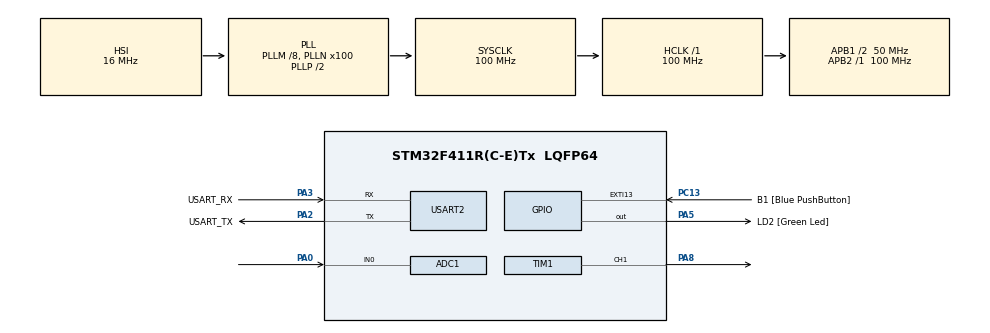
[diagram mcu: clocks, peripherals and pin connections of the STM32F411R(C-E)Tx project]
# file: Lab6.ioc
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ADC1.Channel-0\#ChannelRegularConversion=ADC_CHANNEL_0
ADC1.ExternalTrigConv=ADC_EXTERNALTRIGCONV_T3_TRGO
ADC1.NbrOfConversionFlag=1
ADC1.Rank-0\#ChannelRegularConversion=1
ADC1.SamplingTime-0\#ChannelRegularConversion=ADC_SAMPLETIME_3CYCLES
ADC1.master=1
Mcu.Family=STM32F4
Mcu.Name=STM32F411R(C-E)Tx
Mcu.Package=LQFP64
NVIC.ADC_IRQn=true\:0\:0\:false\:false\:true\:true\:true
NVIC.PriorityGroup=NVIC_PRIORITYGROUP_0
NVIC.TIM1_TRG_COM_TIM11_IRQn=true\:0\:0\:false\:false\:true\:true\:true
PA0-WKUP.Signal=ADCx_IN0
PA13.GPIO_Label=TMS
PA13.Mode=Serial_Wire
PA13.Signal=SYS_JTMS-SWDIO
PA14.GPIO_Label=TCK
PA14.Mode=Serial_Wire
PA14.Signal=SYS_JTCK-SWCLK
PA2.GPIO_Label=USART_TX
PA2.Mode=Asynchronous
PA2.Signal=USART2_TX
PA3.GPIO_Label=USART_RX
PA3.Mode=Asynchronous
PA3.Signal=USART2_RX
PA5.GPIO_Label=LD2 [Green Led]
PA5.Signal=GPIO_Output
PA8.Signal=S_TIM1_CH1
PB3.GPIO_Label=SWO
PB3.Signal=SYS_JTDO-SWO
PC13-ANTI_TAMP.GPIO_Label=B1 [Blue PushButton]
PC13-ANTI_TAMP.GPIO_ModeDefaultEXTI=GPIO_MODE_IT_FALLING
PC13-ANTI_TAMP.Signal=GPXTI13
PC14-OSC32_IN.Mode=LSE-External-Oscillator
PC14-OSC32_IN.Signal=RCC_OSC32_IN
PC15-OSC32_OUT.Mode=LSE-External-Oscillator
PC15-OSC32_OUT.Signal=RCC_OSC32_OUT
PH0\ -\ OSC_IN.Mode=HSE-External-Clock-Source
PH0\ -\ OSC_IN.Signal=RCC_OSC_IN
PH1\ -\ OSC_OUT.Mode=HSE-External-Clock-Source
PH1\ -\ OSC_OUT.Signal=RCC_OSC_OUT
ProjectManager.HeapSize=0x200
ProjectManager.StackSize=0x400
ProjectManager.TargetToolchain=STM32CubeIDE
RCC.48MHZClocksFreq_Value=50000000
RCC.AHBFreq_Value=100000000
RCC.APB1CLKDivider=RCC_HCLK_DIV2
RCC.APB1Freq_Value=50000000
RCC.APB1TimFreq_Value=100000000
RCC.APB2Freq_Value=100000000
RCC.APB2TimFreq_Value=100000000
RCC.CortexFreq_Value=100000000
RCC.FLatency-AdvancedSettings=FLASH_LATENCY_3
RCC.HCLKFreq_Value=100000000
RCC.HSE_VALUE=8000000
RCC.HSI_VALUE=16000000
RCC.PLLM=8
RCC.PLLN=100
RCC.SYSCLKFreq_VALUE=100000000
RCC.SYSCLKSource=RCC_SYSCLKSOURCE_PLLCLK
RCC.VCOOutputFreq_Value=200000000
SH.ADCx_IN0.0=ADC1_IN0,IN0
SH.S_TIM1_CH1.0=TIM1_CH1,PWM Generation1 CH1
TIM1.Channel-PWM\ Generation1\ CH1=TIM_CHANNEL_1
TIM1.Period=10000
TIM1.Pulse-PWM\ Generation1\ CH1=5000
TIM11.Prescaler=99
TIM3.Period=1000
TIM3.Prescaler=99
TIM3.TIM_MasterOutputTrigger=TIM_TRGO_UPDATE
USART2.VirtualMode=VM_ASYNC
VP_TIM11_VS_ClockSourceINT.Mode=Enable_Timer
VP_TIM1_VS_ClockSourceINT.Mode=Internal
VP_TIM3_VS_ClockSourceINT.Mode=Internal
board=NUCLEO-F411RE

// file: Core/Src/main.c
/* USER CODE BEGIN Header */
/**
  ******************************************************************************
  * @file           : main.c
  * @brief          : Main program body
  ******************************************************************************
  * @attention
  *
  * <h2><center>&copy; Copyright (c) 2021 STMicroelectronics.
  * All rights reserved.</center></h2>
  *
  * This software component is licensed by ST under BSD 3-Clause license,
  * the "License"; You may not use this file except in compliance with the
  * License. You may obtain a copy of the License at:
  *                        opensource.org/licenses/BSD-3-Clause
  *
  ******************************************************************************
  */
/* USER CODE END Header */
#include "main.h"

ADC_HandleTypeDef hadc1;

TIM_HandleTypeDef htim1;
TIM_HandleTypeDef htim3;
TIM_HandleTypeDef htim11;

UART_HandleTypeDef huart2;

/* USER CODE BEGIN PV */
uint8_t ADCUpdateFlag = 0;
//store ADC Value
uint16_t ADCFeedBack = 0; //maximum 16 bits

uint16_t PWMOut = 10000;

uint64_t _micro = 0;
uint64_t TimeOutputLoop = 0;

/* USER CODE END PV */

void SystemClock_Config(void);
static void MX_GPIO_Init(void);
static void MX_USART2_UART_Init(void);
static void MX_ADC1_Init(void);
static void MX_TIM1_Init(void);
static void MX_TIM3_Init(void);
static void MX_TIM11_Init(void);
/* USER CODE BEGIN PFP */
uint64_t micros();

/* USER CODE END PFP */

int main(void)
{

  /* MCU Configuration--------------------------------------------------------*/

  /* Reset of all peripherals, Initializes the Flash interface and the Systick. */
  HAL_Init();

  /* Configure the system clock */
  SystemClock_Config();

  /* Initialize all configured peripherals */
  MX_GPIO_Init();
  MX_USART2_UART_Init();
  MX_ADC1_Init();
  MX_TIM1_Init();
  MX_TIM3_Init();
  MX_TIM11_Init();
  /* USER CODE BEGIN 2 */
  //ADC start
  HAL_ADC_Start_IT(&hadc1); //interrupt
  HAL_TIM_Base_Start(&htim3);//trigger 1kHz

  //start pwm
  HAL_TIM_Base_Start(&htim1);
  HAL_TIM_PWM_Start(&htim1, TIM_CHANNEL_1);

  //start micros
  HAL_TIM_Base_Start(&htim11);

  /* USER CODE END 2 */

  /* Infinite loop */
  while (1)
  {

    /* USER CODE BEGIN 3 */
	  if (micros() - TimeOutputLoop >= 1000) //uS -> 1 kHz
	  {
	  	  TimeOutputLoop = micros();
	  	  // #001
	  	  __HAL_TIM_SET_COMPARE(&htim1, TIM_CHANNEL_1, PWMOut); //change PWM every 1KHz

	  }

	  if (ADCUpdateFlag)
	  {
	  	  ADCUpdateFlag = 0;
	  	  //#002
	  	  PWMOut = 1242*10000/(ADCFeedBack*10000/PWMOut);
	  }
  }
  /* USER CODE END 3 */
}

void SystemClock_Config(void)
{
  RCC_OscInitTypeDef RCC_OscInitStruct = {0};
  RCC_ClkInitTypeDef RCC_ClkInitStruct = {0};

  /** Configure the main internal regulator output voltage
  */
  __HAL_RCC_PWR_CLK_ENABLE();
  __HAL_PWR_VOLTAGESCALING_CONFIG(PWR_REGULATOR_VOLTAGE_SCALE1);
  /** Initializes the RCC Oscillators according to the specified parameters
  * in the RCC_OscInitTypeDef structure.
  */
  RCC_OscInitStruct.OscillatorType = RCC_OSCILLATORTYPE_HSI;
  RCC_OscInitStruct.HSIState = RCC_HSI_ON;
  RCC_OscInitStruct.HSICalibrationValue = RCC_HSICALIBRATION_DEFAULT;
  RCC_OscInitStruct.PLL.PLLState = RCC_PLL_ON;
  RCC_OscInitStruct.PLL.PLLSource = RCC_PLLSOURCE_HSI;
  RCC_OscInitStruct.PLL.PLLM = 8;
  RCC_OscInitStruct.PLL.PLLN = 100;
  RCC_OscInitStruct.PLL.PLLP = RCC_PLLP_DIV2;
  RCC_OscInitStruct.PLL.PLLQ = 4;
  if (HAL_RCC_OscConfig(&RCC_OscInitStruct) != HAL_OK)
  {
    Error_Handler();
  }
  /** Initializes the CPU, AHB and APB buses clocks
  */
  RCC_ClkInitStruct.ClockType = RCC_CLOCKTYPE_HCLK|RCC_CLOCKTYPE_SYSCLK
                              |RCC_CLOCKTYPE_PCLK1|RCC_CLOCKTYPE_PCLK2;
  RCC_ClkInitStruct.SYSCLKSource = RCC_SYSCLKSOURCE_PLLCLK;
  RCC_ClkInitStruct.AHBCLKDivider = RCC_SYSCLK_DIV1;
  RCC_ClkInitStruct.APB1CLKDivider = RCC_HCLK_DIV2;
  RCC_ClkInitStruct.APB2CLKDivider = RCC_HCLK_DIV1;

  if (HAL_RCC_ClockConfig(&RCC_ClkInitStruct, FLASH_LATENCY_3) != HAL_OK)
  {
    Error_Handler();
  }
}

static void MX_ADC1_Init(void)
{

  ADC_ChannelConfTypeDef sConfig = {0};

  /** Configure the global features of the ADC (Clock, Resolution, Data Alignment and number of conversion)
  */
  hadc1.Instance = ADC1;
  hadc1.Init.ClockPrescaler = ADC_CLOCK_SYNC_PCLK_DIV4;
  hadc1.Init.Resolution = ADC_RESOLUTION_12B;
  hadc1.Init.ScanConvMode = DISABLE;
  hadc1.Init.ContinuousConvMode = DISABLE;
  hadc1.Init.DiscontinuousConvMode = DISABLE;
  hadc1.Init.ExternalTrigConvEdge = ADC_EXTERNALTRIGCONVEDGE_RISING;
  hadc1.Init.ExternalTrigConv = ADC_EXTERNALTRIGCONV_T3_TRGO;
  hadc1.Init.DataAlign = ADC_DATAALIGN_RIGHT;
  hadc1.Init.NbrOfConversion = 1;
  hadc1.Init.DMAContinuousRequests = DISABLE;
  hadc1.Init.EOCSelection = ADC_EOC_SINGLE_CONV;
  if (HAL_ADC_Init(&hadc1) != HAL_OK)
  {
    Error_Handler();
  }
  /** Configure for the selected ADC regular channel its corresponding rank in the sequencer and its sample time.
  */
  sConfig.Channel = ADC_CHANNEL_0;
  sConfig.Rank = 1;
  sConfig.SamplingTime = ADC_SAMPLETIME_3CYCLES;
  if (HAL_ADC_ConfigChannel(&hadc1, &sConfig) != HAL_OK)
  {
    Error_Handler();
  }

}

static void MX_TIM1_Init(void)
{

  TIM_ClockConfigTypeDef sClockSourceConfig = {0};
  TIM_MasterConfigTypeDef sMasterConfig = {0};
  TIM_OC_InitTypeDef sConfigOC = {0};
  TIM_BreakDeadTimeConfigTypeDef sBreakDeadTimeConfig = {0};

  htim1.Instance = TIM1;
  htim1.Init.Prescaler = 0;
  htim1.Init.CounterMode = TIM_COUNTERMODE_UP;
  htim1.Init.Period = 10000;
  htim1.Init.ClockDivision = TIM_CLOCKDIVISION_DIV1;
  htim1.Init.RepetitionCounter = 0;
  htim1.Init.AutoReloadPreload = TIM_AUTORELOAD_PRELOAD_DISABLE;
  if (HAL_TIM_Base_Init(&htim1) != HAL_OK)
  {
    Error_Handler();
  }
  sClockSourceConfig.ClockSource = TIM_CLOCKSOURCE_INTERNAL;
  if (HAL_TIM_ConfigClockSource(&htim1, &sClockSourceConfig) != HAL_OK)
  {
    Error_Handler();
  }
  if (HAL_TIM_PWM_Init(&htim1) != HAL_OK)
  {
    Error_Handler();
  }
  sMasterConfig.MasterOutputTrigger = TIM_TRGO_RESET;
  sMasterConfig.MasterSlaveMode = TIM_MASTERSLAVEMODE_DISABLE;
  if (HAL_TIMEx_MasterConfigSynchronization(&htim1, &sMasterConfig) != HAL_OK)
  {
    Error_Handler();
  }
  sConfigOC.OCMode = TIM_OCMODE_PWM1;
  sConfigOC.Pulse = 5000;
  sConfigOC.OCPolarity = TIM_OCPOLARITY_HIGH;
  sConfigOC.OCNPolarity = TIM_OCNPOLARITY_HIGH;
  sConfigOC.OCFastMode = TIM_OCFAST_DISABLE;
  sConfigOC.OCIdleState = TIM_OCIDLESTATE_RESET;
  sConfigOC.OCNIdleState = TIM_OCNIDLESTATE_RESET;
  if (HAL_TIM_PWM_ConfigChannel(&htim1, &sConfigOC, TIM_CHANNEL_1) != HAL_OK)
  {
    Error_Handler();
  }
  sBreakDeadTimeConfig.OffStateRunMode = TIM_OSSR_DISABLE;
  sBreakDeadTimeConfig.OffStateIDLEMode = TIM_OSSI_DISABLE;
  sBreakDeadTimeConfig.LockLevel = TIM_LOCKLEVEL_OFF;
  sBreakDeadTimeConfig.DeadTime = 0;
  sBreakDeadTimeConfig.BreakState = TIM_BREAK_DISABLE;
  sBreakDeadTimeConfig.BreakPolarity = TIM_BREAKPOLARITY_HIGH;
  sBreakDeadTimeConfig.AutomaticOutput = TIM_AUTOMATICOUTPUT_DISABLE;
  if (HAL_TIMEx_ConfigBreakDeadTime(&htim1, &sBreakDeadTimeConfig) != HAL_OK)
  {
    Error_Handler();
  }
  HAL_TIM_MspPostInit(&htim1);

}

static void MX_TIM3_Init(void)
{

  TIM_ClockConfigTypeDef sClockSourceConfig = {0};
  TIM_MasterConfigTypeDef sMasterConfig = {0};

  htim3.Instance = TIM3;
  htim3.Init.Prescaler = 99;
  htim3.Init.CounterMode = TIM_COUNTERMODE_UP;
  htim3.Init.Period = 1000;
  htim3.Init.ClockDivision = TIM_CLOCKDIVISION_DIV1;
  htim3.Init.AutoReloadPreload = TIM_AUTORELOAD_PRELOAD_DISABLE;
  if (HAL_TIM_Base_Init(&htim3) != HAL_OK)
  {
    Error_Handler();
  }
  sClockSourceConfig.ClockSource = TIM_CLOCKSOURCE_INTERNAL;
  if (HAL_TIM_ConfigClockSource(&htim3, &sClockSourceConfig) != HAL_OK)
  {
    Error_Handler();
  }
  sMasterConfig.MasterOutputTrigger = TIM_TRGO_UPDATE;
  sMasterConfig.MasterSlaveMode = TIM_MASTERSLAVEMODE_DISABLE;
  if (HAL_TIMEx_MasterConfigSynchronization(&htim3, &sMasterConfig) != HAL_OK)
  {
    Error_Handler();
  }

}

static void MX_TIM11_Init(void)
{

  htim11.Instance = TIM11;
  htim11.Init.Prescaler = 99;
  htim11.Init.CounterMode = TIM_COUNTERMODE_UP;
  htim11.Init.Period = 65535;
  htim11.Init.ClockDivision = TIM_CLOCKDIVISION_DIV1;
  htim11.Init.AutoReloadPreload = TIM_AUTORELOAD_PRELOAD_DISABLE;
  if (HAL_TIM_Base_Init(&htim11) != HAL_OK)
  {
    Error_Handler();
  }

}

static void MX_USART2_UART_Init(void)
{

  huart2.Instance = USART2;
  huart2.Init.BaudRate = 115200;
  huart2.Init.WordLength = UART_WORDLENGTH_8B;
  huart2.Init.StopBits = UART_STOPBITS_1;
  huart2.Init.Parity = UART_PARITY_NONE;
  huart2.Init.Mode = UART_MODE_TX_RX;
  huart2.Init.HwFlowCtl = UART_HWCONTROL_NONE;
  huart2.Init.OverSampling = UART_OVERSAMPLING_16;
  if (HAL_UART_Init(&huart2) != HAL_OK)
  {
    Error_Handler();
  }

}

static void MX_GPIO_Init(void)
{
  GPIO_InitTypeDef GPIO_InitStruct = {0};

  /* GPIO Ports Clock Enable */
  __HAL_RCC_GPIOC_CLK_ENABLE();
  __HAL_RCC_GPIOH_CLK_ENABLE();
  __HAL_RCC_GPIOA_CLK_ENABLE();
  __HAL_RCC_GPIOB_CLK_ENABLE();

  /*Configure GPIO pin Output Level */
  HAL_GPIO_WritePin(LD2_GPIO_Port, LD2_Pin, GPIO_PIN_RESET);

  /*Configure GPIO pin : B1_Pin */
  GPIO_InitStruct.Pin = B1_Pin;
  GPIO_InitStruct.Mode = GPIO_MODE_IT_FALLING;
  GPIO_InitStruct.Pull = GPIO_NOPULL;
  HAL_GPIO_Init(B1_GPIO_Port, &GPIO_InitStruct);

  /*Configure GPIO pin : LD2_Pin */
  GPIO_InitStruct.Pin = LD2_Pin;
  GPIO_InitStruct.Mode = GPIO_MODE_OUTPUT_PP;
  GPIO_InitStruct.Pull = GPIO_NOPULL;
  GPIO_InitStruct.Speed = GPIO_SPEED_FREQ_LOW;
  HAL_GPIO_Init(LD2_GPIO_Port, &GPIO_InitStruct);

}

/* USER CODE BEGIN 4 */
void HAL_ADC_ConvCpltCallback(ADC_HandleTypeDef* hadc) //ADC convert เสร็จ�?ล้ว
{

  ADCFeedBack = HAL_ADC_GetValue(&hadc1); //store ADC
  ADCUpdateFlag = 1;

}

void HAL_TIM_PeriodElapsedCallBack(TIM_HandleTypeDef *htim)
{
	if (htim == &htim11)
	{
		_micro += 65535;
	}
}

__inline__ uint64_t micros()
{
	return _micro + htim11.Instance->CNT;
}

/* USER CODE END 4 */

void Error_Handler(void)
{
  __disable_irq();
  while (1)
  {
  }
}

/************************ (C) COPYRIGHT STMicroelectronics *****END OF FILE****/
